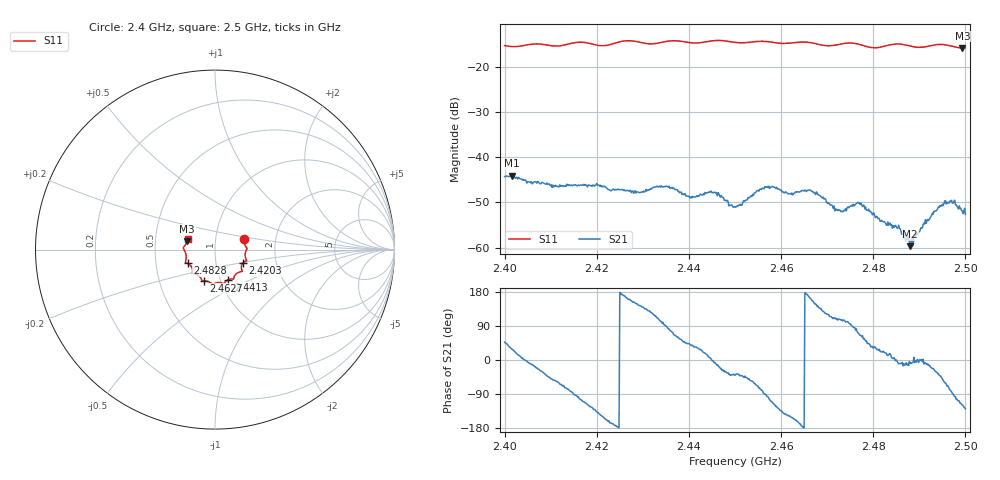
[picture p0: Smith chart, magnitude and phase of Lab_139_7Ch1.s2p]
# Hz S RI R 50
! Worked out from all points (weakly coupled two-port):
!   601 points, 2.4 GHz to 2.5 GHz, reference 50 ohm
!   highest |S21| = -44.08 dB at 2.4015 GHz (marker M1); lowest = -59.7 dB at 2.488 GHz (marker M2)
!   lowest |S11| = -15.8 dB at 2.4993 GHz (marker M3), VSWR 1.39, Z = 36.5 + j3.61 ohm
!   |S11| at or under -10 dB: start of sweep to end of sweep
!   S12 and S22 are empty: the file has one direction only
!   S11 on the Smith chart (normalised r, x): 2.4 GHz: 1.37, +0.16; 2.4203 GHz: 1.35, -0.20; 2.4413 GHz: 1.09, -0.38; 2.4627 GHz: 0.83, -0.30; 2.4828 GHz: 0.73, -0.11; 2.5 GHz: 0.73, +0.09
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2.4e9  0.1615 0.0582  0.00415 0.00449  0 0  0 0
2.4015e9  0.1623 0.0418  0.00542 0.00311  0 0  0 0
2.410833e9  0.1688 -0.0176  0.00285 -0.00386  0 0  0 0
2.416667e9  0.1764 -0.0622  -0.00134 -0.00473  0 0  0 0
2.420333e9  0.1562 -0.0732  -0.0037 -0.00322  0 0  0 0
2.429e9  0.1424 -0.1233  -0.00337 0.00238  0 0  0 0
2.433333e9  0.1075 -0.148  -0.00153 0.00443  0 0  0 0
2.441333e9  0.0751 -0.1673  0.003 0.00204  0 0  0 0
2.445333e9  0.051 -0.1876  0.00404 -0.000282  0 0  0 0
2.45e9  0.0303 -0.1839  0.00216 -0.00182  0 0  0 0
2.456833e9  -0.016 -0.1898  -0.000369 -0.00467  0 0  0 0
2.462667e9  -0.0614 -0.174  -0.00356 -0.00166  0 0  0 0
2.466667e9  -0.0745 -0.1682  -0.00388 0.00162  0 0  0 0
2.473e9  -0.1178 -0.1339  -0.000666 0.00241  0 0  0 0
2.477e9  -0.1249 -0.1252  0.00124 0.00288  0 0  0 0
2.482833e9  -0.1531 -0.0767  0.00171 0.000545  0 0  0 0
2.483333e9  -0.1569 -0.0751  0.00172 0.000419  0 0  0 0
2.488e9  -0.1613 -0.0536  0.00103 -0.000132  0 0  0 0
2.495167e9  -0.1758 0.0121  0.00174 -0.00235  0 0  0 0
2.497167e9  -0.1667 0.024  0.000103 -0.00311  0 0  0 0
2.499333e9  -0.1544 0.0482  -0.00123 -0.00223  0 0  0 0
2.5e9  -0.1521 0.0574  -0.00146 -0.00182  0 0  0 0
